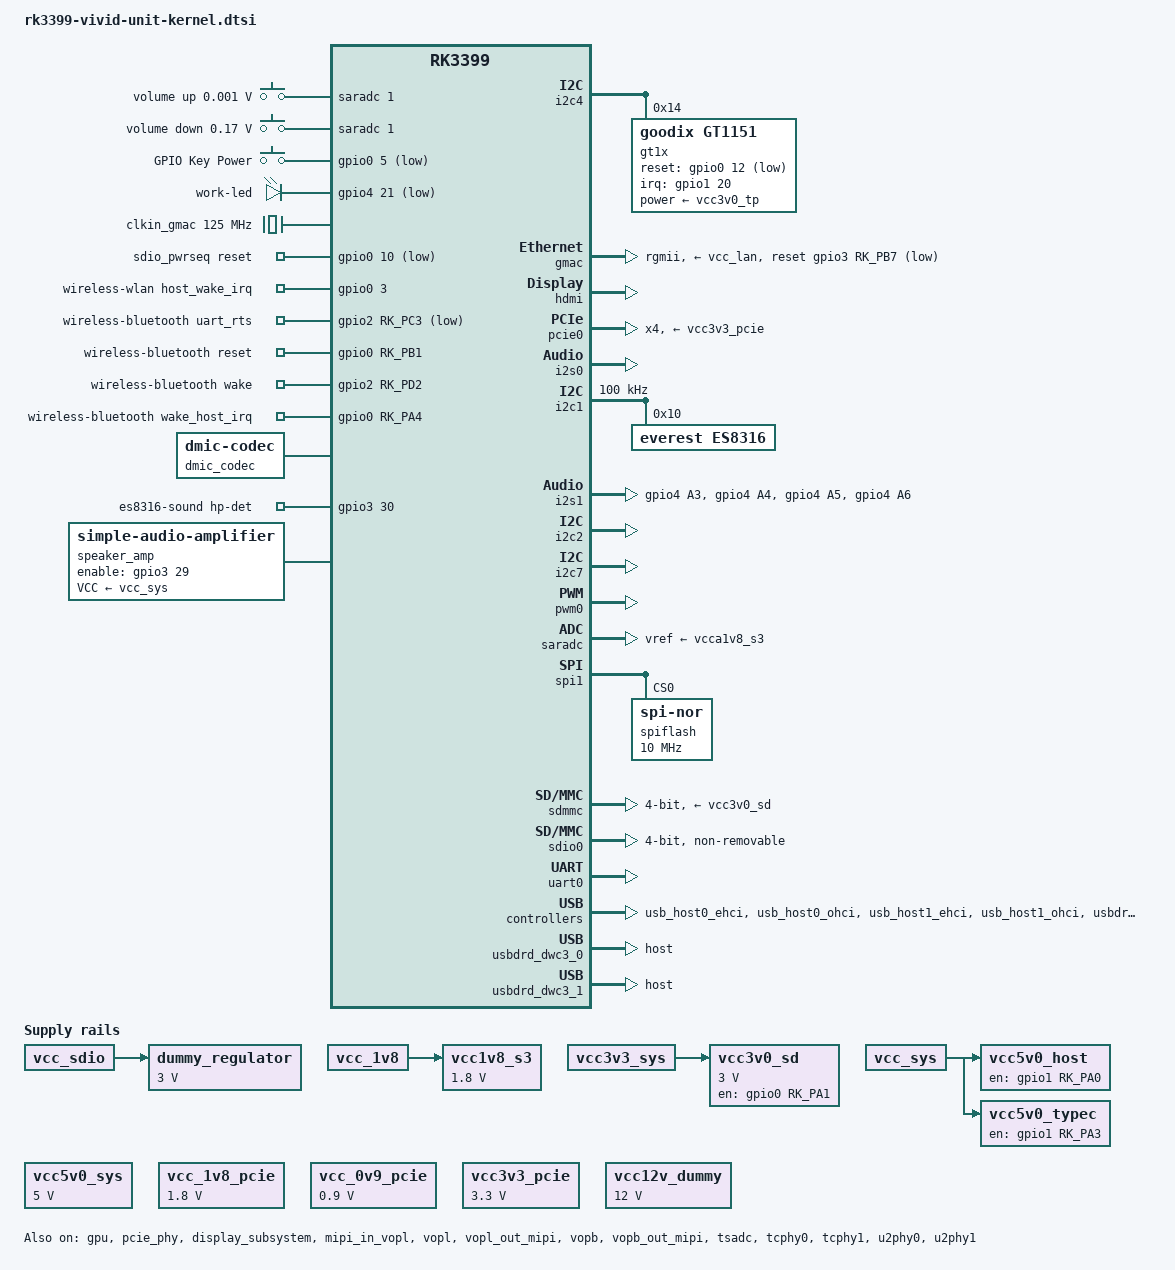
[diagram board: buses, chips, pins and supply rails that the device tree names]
// SPDX-License-Identifier: (GPL-2.0+ OR MIT)
/* Linux runtime-only pieces for Vivid Unit. */

/ {
	vividunit,dtb-build = "2026-03-13 kernel-split";

	adc_keys: adc-keys {
		compatible = "adc-keys";
		io-channels = <&saradc 1>;
		io-channel-names = "buttons";
		keyup-threshold-microvolt = <1800000>;
		poll-interval = <100>;

		vol-up-key {
			label = "volume up";
			linux,code = <KEY_VOLUMEUP>;
			press-threshold-microvolt = <1000>;
		};

		vol-down-key {
			label = "volume down";
			linux,code = <KEY_VOLUMEDOWN>;
			press-threshold-microvolt = <170000>;
		};
	};

	gpio_keys: gpio-keys {
		compatible = "gpio-keys";
		autorepeat;
		pinctrl-names = "default";
		pinctrl-0 = <&pwrbtn>;

		power {
			debounce-interval = <100>;
			gpios = <&gpio0 5 GPIO_ACTIVE_LOW>;
			label = "GPIO Key Power";
			linux,code = <KEY_POWER>;
			wakeup-source;
		};
	};

	leds {
		status = "okay";
		compatible = "gpio-leds";
		work_led: work-led {
			label = "work-led";
			gpios = <&gpio4 21 GPIO_ACTIVE_LOW>;
			linux,default-trigger = "mmc0";
			default-state = "on";
		};
	};

	clkin_gmac: external-gmac-clock {
		compatible = "fixed-clock";
		clock-frequency = <125000000>;
		clock-output-names = "clkin_gmac";
		#clock-cells = <0>;
	};

	dummy_regulator: dummy-regulator {
		compatible = "regulator-fixed";
		enable-active-high;
		regulator-always-on;
		regulator-max-microvolt = <3000000>;
		regulator-min-microvolt = <3000000>;
		regulator-name = "dummy_regulator";
		vin-supply = <&vcc_sdio>;
	};

	vcc1v8_s3: vcca1v8_s3: vcc1v8-s3 {
		compatible = "regulator-fixed";
		regulator-name = "vcc1v8_s3";
		regulator-always-on;
		regulator-boot-on;
		regulator-min-microvolt = <1800000>;
		regulator-max-microvolt = <1800000>;
		vin-supply = <&vcc_1v8>;
	};

	vcc3v0_sd: vcc3v0-sd {
		compatible = "regulator-fixed";
		enable-active-high;
		gpio = <&gpio0 RK_PA1 GPIO_ACTIVE_HIGH>;
		pinctrl-names = "default";
		pinctrl-0 = <&sdmmc0_pwr_h>;
		regulator-always-on;
		regulator-max-microvolt = <3000000>;
		regulator-min-microvolt = <3000000>;
		regulator-name = "vcc3v0_sd";
		vin-supply = <&vcc3v3_sys>;
	};

	vcc5v0_host: vcc5v0-host-regulator {
		compatible = "regulator-fixed";
		enable-active-high;
		gpio = <&gpio1 RK_PA0 GPIO_ACTIVE_HIGH>;
		pinctrl-names = "default";
		pinctrl-0 = <&vcc5v0_host_en>;
		regulator-name = "vcc5v0_host";
		regulator-always-on;
		vin-supply = <&vcc_sys>;
	};

	vcc5v0_typec: vcc5v0-typec-regulator {
		compatible = "regulator-fixed";
		enable-active-high;
		gpio = <&gpio1 RK_PA3 GPIO_ACTIVE_HIGH>;
		pinctrl-names = "default";
		pinctrl-0 = <&vcc5v0_typec_en>;
		regulator-name = "vcc5v0_typec";
		regulator-always-on;
		vin-supply = <&vcc_sys>;
	};

	vcc5v0_sys: vcc5v0-sys {
		compatible = "regulator-fixed";
		regulator-name = "vcc5v0_sys";
		regulator-always-on;
		regulator-boot-on;
		regulator-min-microvolt = <5000000>;
		regulator-max-microvolt = <5000000>;
	};

	vcc_1v8_pcie: vcc-1v8 {
		compatible = "regulator-fixed";
		regulator-name = "vcc_1v8_pcie";
		regulator-always-on;
		regulator-min-microvolt = <1800000>;
		regulator-max-microvolt = <1800000>;
	};

	vcc_0v9_pcie: vcc-0v9 {
		compatible = "regulator-fixed";
		regulator-name = "vcc_0v9_pcie";
		regulator-always-on;
		regulator-min-microvolt = <900000>;
		regulator-max-microvolt = <900000>;
	};

	vcc3v3_pcie: vcc3v3-pcie {
		compatible = "regulator-fixed";
		regulator-name = "vcc3v3_pcie";
		regulator-always-on;
		regulator-min-microvolt = <3300000>;
		regulator-max-microvolt = <3300000>;
	};

	vcc12v_dummy: vcc12v-dummy {
		compatible = "regulator-fixed";
		regulator-name = "vcc12v_dummy";
		regulator-always-on;
		regulator-min-microvolt = <12000000>;
		regulator-max-microvolt = <12000000>;
	};

	sdio_pwrseq: sdio-pwrseq {
		compatible = "mmc-pwrseq-simple";
		clocks = <&rk808 1>;
		clock-names = "ext_clock";
		pinctrl-names = "default";
		pinctrl-0 = <&wifi_enable_h>;
		reset-gpios = <&gpio0 10 GPIO_ACTIVE_LOW>;
	};

	test-power {
		status = "okay";
	};

	wireless-wlan {
		compatible = "wlan-platdata";
		rockchip,grf = <&grf>;
		wifi_chip_type = "ap6212";
		sdio_vref = <1800>;
		WIFI,host_wake_irq = <&gpio0 3 GPIO_ACTIVE_HIGH>;
		status = "okay";
	};

	wireless-bluetooth {
		compatible = "bluetooth-platdata";
		clocks = <&rk808 1>;
		clock-names = "ext_clock";
		uart_rts_gpios = <&gpio2 RK_PC3 GPIO_ACTIVE_LOW>;
		pinctrl-names = "default", "rts_gpio";
		pinctrl-0 = <&uart0_rts>, <&bt_reg_on_h>, <&bt_host_wake_l>, <&bt_wake_l>;
		pinctrl-1 = <&uart0_rts>;
		BT,reset_gpio = <&gpio0 RK_PB1 GPIO_ACTIVE_HIGH>;
		BT,wake_gpio = <&gpio2 RK_PD2 GPIO_ACTIVE_HIGH>;
		BT,wake_host_irq = <&gpio0 RK_PA4 GPIO_ACTIVE_HIGH>;
		status = "okay";
	};

	dmic_codec: dmic-codec {
		compatible = "dmic-codec";
		num-channels = <2>;
		#sound-dai-cells = <0>;
	};

	dmic_sound: dmic-sound {
		compatible = "simple-audio-card";
		simple-audio-card,name = "rk-dmic-sound";
		simple-audio-card,format = "i2s";
		simple-audio-card,mclk-fs = <256>;
		simple-audio-card,bitclock-master = <&dmic_cpu>;
		simple-audio-card,frame-master = <&dmic_cpu>;
		dmic_cpu: simple-audio-card,cpu {
			sound-dai = <&i2s1>;
		};
		dmic_codec_link: simple-audio-card,codec {
			sound-dai = <&dmic_codec>;
		};
	};

	es8316-sound {
		compatible = "simple-audio-card";
		pinctrl-names = "default";
		pinctrl-0 = <&hp_det_pin>;
		simple-audio-card,name = "rockchip,es8316-codec";
		simple-audio-card,format = "i2s";
		simple-audio-card,mclk-fs = <256>;

		simple-audio-card,widgets =
			"Microphone", "Mic Jack",
			"Headphone", "Headphones",
			"Speaker", "Speaker";
		simple-audio-card,routing =
			"MIC1", "Mic Jack",
			"Headphones", "HPOL",
			"Headphones", "HPOR",
			"Speaker Amplifier INL", "HPOL",
			"Speaker Amplifier INR", "HPOR",
			"Speaker", "Speaker Amplifier OUTL",
			"Speaker", "Speaker Amplifier OUTR";

		simple-audio-card,hp-det-gpio = <&gpio3 30 GPIO_ACTIVE_HIGH>;
		simple-audio-card,aux-devs = <&speaker_amp>;
		simple-audio-card,pin-switches = "Speaker";

		simple-audio-card,cpu {
			sound-dai = <&i2s0>;
		};

		simple-audio-card,codec {
			sound-dai = <&es8316>;
		};
	};

	speaker_amp: speaker-amplifier {
		compatible = "simple-audio-amplifier";
		enable-gpios = <&gpio3 29 GPIO_ACTIVE_HIGH>;
		sound-name-prefix = "Speaker Amplifier";
		VCC-supply = <&vcc_sys>;
		pinctrl-names = "default";
		pinctrl-0 = <&speaker_amp_en>;
	};
};

/* touch screen */
&i2c4 {
	i2c-scl-rising-time-ns = <600>;
	i2c-scl-falling-time-ns = <20>;
	status = "okay";

	gt1x: gt1x@14 {
		compatible = "goodix,gt1151";
		reg = <0x14>;
		interrupt-parent = <&gpio1>;
		interrupts = <20 IRQ_TYPE_EDGE_FALLING>;
		reset-gpios = <&gpio0 12 GPIO_ACTIVE_LOW>;
		goodix,ic_type = "gt1151q";
		pinctrl-names = "default";
		pinctrl-0 = <&touch_io>;
		power-supply = <&vcc3v0_tp>;
	};
};

&gmac {
	assigned-clocks = <&cru SCLK_RMII_SRC>;
	assigned-clock-parents = <&clkin_gmac>;
	clock_in_out = "input";
	phy-supply = <&vcc_lan>;
	phy-mode = "rgmii";
	pinctrl-names = "default";
	pinctrl-0 = <&rgmii_pins>;
	snps,reset-gpio = <&gpio3 RK_PB7 GPIO_ACTIVE_LOW>;
	snps,reset-active-low;
	snps,reset-delays-us = <0 10000 50000>;
	tx_delay = <0x28>;
	rx_delay = <0x11>;
	status = "okay";
};

&gpu {
	mali-supply = <&vdd_gpu>;
	status = "okay";
};

&hdmi {
	pinctrl-names = "default";
	pinctrl-0 = <&hdmi_i2c_xfer>, <&hdmi_cec>;
	#sound-dai-cells = <0>;
	status = "okay";
};

&pcie_phy {
	status = "okay";
};

&pcie0 {
	status = "okay";
	ep-gpios = <&gpio4 RK_PD3 GPIO_ACTIVE_LOW>;
	max-link-speed = <2>;
	num-lanes = <4>;
	pinctrl-0 = <&pcie_clkreqnb_cpm>;
	pinctrl-names = "default";
	vpcie0v9-supply = <&vcc_0v9_pcie>;
	vpcie1v8-supply = <&vcc_1v8_pcie>;
	vpcie3v3-supply = <&vcc3v3_pcie>;
	vpcie12v-supply = <&vcc12v_dummy>;
	reset-delay-us = <100000>;
};

&i2s0 {
	status = "okay";
	rockchip,playback-channels = <2>;
	rockchip,capture-channels = <2>;
	pinctrl-names = "default";
	pinctrl-0 = <&i2s0_2ch_bus>;
};

&i2c1 {
	clock-frequency = <100000>;
	i2c-scl-falling-time-ns = <4>;
	i2c-scl-rising-time-ns = <168>;
	status = "okay";

	es8316: es8316@10 {
		#sound-dai-cells = <0>;
		compatible = "everest,es8316";
		reg = <0x10>;
		clocks = <&cru SCLK_I2S_8CH_OUT>;
		clock-names = "mclk";
	};
};

&i2s1 {
	status = "okay";
	rockchip,clk-trcm = <1>;
	pinctrl-names = "default";
	pinctrl-0 = <&i2s1_1ch_bus>;
};

&i2c2 {
	status = "okay";
};

&i2c3 {
	i2c-scl-rising-time-ns = <450>;
	i2c-scl-falling-time-ns = <15>;
	status = "disabled";
};

&i2c7 {
	status = "okay";
};

&isp0_mmu {
};

&isp1_mmu {
};

&mipi_dphy_rx0 {
};

&pwm0 {
	status = "okay";
};


/*
 * Keep the built-in portrait panel on VOPL -> DSI, and restore the external
 * display path on VOPB -> HDMI so Linux can expose both connectors.
 */
&display_subsystem {
	status = "okay";
	ports = <&vopl_out>, <&vopb_out>;
	route {
		route_dsi: route-dsi {
			status = "okay";
			connect = <&vopl_out_mipi>;
		};

		route_hdmi: route-hdmi {
			status = "okay";
			connect = <&vopb_out_hdmi>;
		};
	};
};

&mipi_in_vopl {
	status = "okay";
};

&mipi_in_vopb {
	status = "disabled";
};

&vopl {
	status = "okay";
};

&vopl_mmu {
	status = "okay";
};

&vopl_out {
	status = "okay";
};

&vopl_out_mipi {
	status = "okay";
};

&vopb {
	status = "okay";
};

&vopb_mmu {
	status = "okay";
};

&vopb_out {
	status = "okay";
};

&vopb_out_mipi {
	status = "okay";
};

/*
 * Restore explicit CPU regulator bindings in the kernel DTB. These were
 * present in the previously known-good boot DTB and should not be left to
 * chance when the base rk3399.dtsi changes.
 */
&cpu_l0 { cpu-supply = <&vdd_cpu_l>; };
&cpu_l1 { cpu-supply = <&vdd_cpu_l>; };
&cpu_l2 { cpu-supply = <&vdd_cpu_l>; };
&cpu_l3 { cpu-supply = <&vdd_cpu_l>; };
&cpu_b0 { cpu-supply = <&vdd_cpu_b>; };
&cpu_b1 { cpu-supply = <&vdd_cpu_b>; };


&saradc {
	vref-supply = <&vcca1v8_s3>;
	status = "okay";
};

&tsadc {
	rockchip,hw-tshut-mode = <1>;
	rockchip,hw-tshut-polarity = <1>;
	status = "okay";
};

&spi1 {
	max-freq = <10000000>;
	status = "okay";
	spiflash: flash@0 {
		compatible = "jedec,spi-nor";
		reg = <0>;
		m25p,fast-read;
		spi-max-frequency = <10000000>;
	};
};

&spi2 {
	status = "disabled";
	max-freq = <10000000>;
};

&sdmmc {
	broken-cd;
	bus-width = <4>;
	cap-mmc-highspeed;
	cap-sd-highspeed;
	no-sdio;
	no-emmc;
	clock-frequency = <150000000>;
	disable-wp;
	sd-uhs-sdr104;
	max-frequency = <150000000>;
	pinctrl-names = "default";
	pinctrl-0 = <&sdmmc_clk &sdmmc_cmd &sdmmc_cd &sdmmc_bus4>;
	vmmc-supply = <&vcc3v0_sd>;
	vqmmc-supply = <&vcc_sdio>;
	status = "okay";
};

&sdio0 {
	clock-frequency = <50000000>;
	clock-freq-min-max = <200000 50000000>;
	no-sd;
	no-mmc;
	bus-width = <4>;
	disable-wp;
	cap-sd-highspeed;
	cap-sdio-irq;
	keep-power-in-suspend;
	mmc-pwrseq = <&sdio_pwrseq>;
	non-removable;
	num-slots = <1>;
	pinctrl-names = "default";
	pinctrl-0 = <&sdio0_bus4 &sdio0_cmd &sdio0_clk>;
	sd-uhs-sdr104;
	status = "okay";
};

&uart0 {
	pinctrl-names = "default";
	pinctrl-0 = <&uart0_xfer &uart0_cts &uart0_rts>;
	status = "okay";
};

&tcphy0 {
	status = "okay";
};

&tcphy1 {
	status = "okay";
};

&u2phy0 {
	status = "okay";
	u2phy0_otg: otg-port {
		status = "okay";
	};

	u2phy0_host: host-port {
		status = "okay";
	};
};

&u2phy1 {
	status = "okay";

	u2phy1_otg: otg-port {
		status = "okay";
	};

	u2phy1_host: host-port {
		status = "okay";
	};
};

&usb_host0_ehci {
	status = "okay";
};

&usb_host0_ohci {
	status = "okay";
};

&usb_host1_ehci {
	status = "okay";
};

&usb_host1_ohci {
	status = "okay";
};

&usbdrd3_0 {
	status = "okay";
};

&usbdrd_dwc3_0 {
	status = "okay";
	dr_mode = "host";
};

&usbdrd3_1 {
	status = "okay";
};

&usbdrd_dwc3_1 {
	status = "okay";
	dr_mode = "host";
};

&pinctrl {
	dmic {
		i2s1_1ch_bus: i2s1-1ch-bus {
			rockchip,pins =
				<4 RK_PA3 1 &pcfg_pull_none>,
				<4 RK_PA4 1 &pcfg_pull_none>,
				<4 RK_PA5 1 &pcfg_pull_none>,
				<4 RK_PA6 1 &pcfg_pull_none>;
		};
	};

	sd {
		sdmmc0_pwr_h: sdmmc0-pwr-h {
			rockchip,pins = <0 RK_PA1 RK_FUNC_GPIO &pcfg_pull_none>;
		};
	};

	usb2 {
		vcc5v0_host_en: vcc5v0-host-en {
			rockchip,pins = <1 RK_PA0 RK_FUNC_GPIO &pcfg_pull_none>;
		};
	};

	usb-typec {
		vcc5v0_typec_en: vcc5v0_typec_en {
			rockchip,pins = <1 RK_PA3 RK_FUNC_GPIO &pcfg_pull_up>;
		};
	};

	sdio-pwrseq {
		wifi_enable_h: wifi-enable-h {
			rockchip,pins = <0 RK_PB2 RK_FUNC_GPIO &pcfg_pull_none>;
		};

		wifi_enable_h_mainboard: wifi-enable-h-mainboard {
			rockchip,pins = <0 RK_PA3 RK_FUNC_GPIO &pcfg_pull_none>;
		};
	};

	wireless-bluetooth {
		bt_reg_on_h: bt-reg-on-h {
			rockchip,pins = <0 RK_PB1 RK_FUNC_GPIO &pcfg_pull_none>;
		};
		bt_host_wake_l: bt-host-wake-l {
			rockchip,pins = <0 RK_PA4 RK_FUNC_GPIO &pcfg_pull_down>;
		};
		bt_wake_l: bt-wake-l {
			rockchip,pins = <2 RK_PD2 RK_FUNC_GPIO &pcfg_pull_none>;
		};
	};

	buttons {
		pwrbtn: pwrbtn {
			rockchip,pins = <0 RK_PA5 RK_FUNC_GPIO &pcfg_pull_up>;
		};
	};

	touch {
		touch_io: touch-io {
			rockchip,pins =
				<1 RK_PC4 RK_FUNC_GPIO &pcfg_pull_up>,
				<0 RK_PB4 RK_FUNC_GPIO &pcfg_pull_up>;
		};
	};

	es8316 {
		hp_det_pin: hp-det-pin {
			rockchip,pins = <3 30 RK_FUNC_GPIO &pcfg_pull_none>;
		};

		speaker_amp_en: speaker-amp-en {
			rockchip,pins = <3 29 RK_FUNC_GPIO &pcfg_pull_none>;
		};
	};
};
